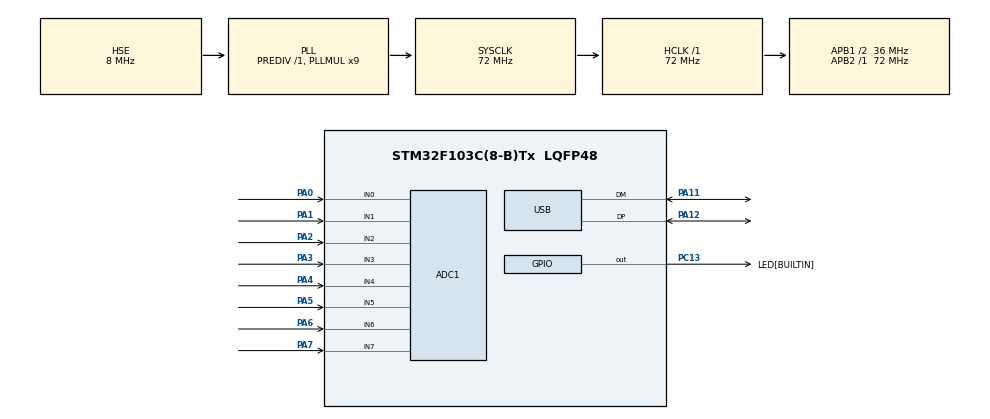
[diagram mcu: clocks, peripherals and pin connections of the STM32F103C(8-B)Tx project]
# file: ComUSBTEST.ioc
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ADC1.Channel-0\#ChannelRegularConversion=ADC_CHANNEL_0
ADC1.Channel-1\#ChannelRegularConversion=ADC_CHANNEL_1
ADC1.Channel-2\#ChannelRegularConversion=ADC_CHANNEL_2
ADC1.Channel-3\#ChannelRegularConversion=ADC_CHANNEL_3
ADC1.Channel-4\#ChannelRegularConversion=ADC_CHANNEL_4
ADC1.Channel-5\#ChannelRegularConversion=ADC_CHANNEL_5
ADC1.Channel-6\#ChannelRegularConversion=ADC_CHANNEL_6
ADC1.Channel-7\#ChannelRegularConversion=ADC_CHANNEL_7
ADC1.ContinuousConvMode=DISABLE
ADC1.DataAlign=ADC_DATAALIGN_RIGHT
ADC1.NbrOfConversion=8
ADC1.NbrOfConversionFlag=1
ADC1.Rank-0\#ChannelRegularConversion=1
ADC1.Rank-1\#ChannelRegularConversion=2
ADC1.Rank-2\#ChannelRegularConversion=3
ADC1.Rank-3\#ChannelRegularConversion=4
ADC1.Rank-4\#ChannelRegularConversion=5
ADC1.Rank-5\#ChannelRegularConversion=6
ADC1.Rank-6\#ChannelRegularConversion=7
ADC1.Rank-7\#ChannelRegularConversion=8
ADC1.SamplingTime-0\#ChannelRegularConversion=ADC_SAMPLETIME_1CYCLE_5
ADC1.SamplingTime-1\#ChannelRegularConversion=ADC_SAMPLETIME_1CYCLE_5
ADC1.SamplingTime-2\#ChannelRegularConversion=ADC_SAMPLETIME_1CYCLE_5
ADC1.SamplingTime-3\#ChannelRegularConversion=ADC_SAMPLETIME_1CYCLE_5
ADC1.SamplingTime-4\#ChannelRegularConversion=ADC_SAMPLETIME_1CYCLE_5
ADC1.SamplingTime-5\#ChannelRegularConversion=ADC_SAMPLETIME_1CYCLE_5
ADC1.SamplingTime-6\#ChannelRegularConversion=ADC_SAMPLETIME_1CYCLE_5
ADC1.SamplingTime-7\#ChannelRegularConversion=ADC_SAMPLETIME_1CYCLE_5
ADC1.master=1
Dma.ADC1.0.Direction=DMA_PERIPH_TO_MEMORY
Dma.ADC1.0.Instance=DMA1_Channel1
Dma.ADC1.0.MemDataAlignment=DMA_MDATAALIGN_HALFWORD
Dma.ADC1.0.MemInc=DMA_MINC_ENABLE
Dma.ADC1.0.Mode=DMA_NORMAL
Dma.ADC1.0.PeriphDataAlignment=DMA_PDATAALIGN_HALFWORD
Dma.ADC1.0.PeriphInc=DMA_PINC_DISABLE
Dma.ADC1.0.Priority=DMA_PRIORITY_LOW
Dma.Request0=ADC1
Mcu.Family=STM32F1
Mcu.Name=STM32F103C(8-B)Tx
Mcu.Package=LQFP48
NVIC.DMA1_Channel1_IRQn=true\:0\:0\:false\:false\:true\:false\:true\:true
NVIC.PriorityGroup=NVIC_PRIORITYGROUP_4
NVIC.TIM1_UP_IRQn=true\:0\:0\:false\:false\:true\:true\:true\:true
NVIC.USB_LP_CAN1_RX0_IRQn=true\:0\:0\:false\:false\:true\:false\:true\:true
PA0-WKUP.Signal=ADCx_IN0
PA1.Signal=ADCx_IN1
PA11.Mode=Device
PA11.Signal=USB_DM
PA12.Mode=Device
PA12.Signal=USB_DP
PA2.Signal=ADCx_IN2
PA3.Signal=ADCx_IN3
PA4.Signal=ADCx_IN4
PA5.Signal=ADCx_IN5
PA6.Signal=ADCx_IN6
PA7.Signal=ADCx_IN7
PC13-TAMPER-RTC.GPIO_Label=LED[BUILTIN]
PC13-TAMPER-RTC.Signal=GPIO_Output
PC14-OSC32_IN.Mode=LSE-External-Oscillator
PC14-OSC32_IN.Signal=RCC_OSC32_IN
PC15-OSC32_OUT.Mode=LSE-External-Oscillator
PC15-OSC32_OUT.Signal=RCC_OSC32_OUT
PD0-OSC_IN.Mode=HSE-External-Oscillator
PD0-OSC_IN.Signal=RCC_OSC_IN
PD1-OSC_OUT.Mode=HSE-External-Oscillator
PD1-OSC_OUT.Signal=RCC_OSC_OUT
ProjectManager.HeapSize=0x200
ProjectManager.StackSize=0x400
ProjectManager.TargetToolchain=STM32CubeIDE
RCC.ADCPresc=RCC_ADCPCLK2_DIV6
RCC.AHBFreq_Value=72000000
RCC.APB1CLKDivider=RCC_HCLK_DIV2
RCC.APB1Freq_Value=36000000
RCC.APB1TimFreq_Value=72000000
RCC.APB2Freq_Value=72000000
RCC.APB2TimFreq_Value=72000000
RCC.HCLKFreq_Value=72000000
RCC.PLLMUL=RCC_PLL_MUL9
RCC.PLLSourceVirtual=RCC_PLLSOURCE_HSE
RCC.SYSCLKFreq_VALUE=72000000
RCC.SYSCLKSource=RCC_SYSCLKSOURCE_PLLCLK
RCC.USBFreq_Value=48000000
RCC.USBPrescaler=RCC_USBCLKSOURCE_PLL_DIV1_5
SH.ADCx_IN0.0=ADC1_IN0,IN0
SH.ADCx_IN1.0=ADC1_IN1,IN1
SH.ADCx_IN2.0=ADC1_IN2,IN2
SH.ADCx_IN3.0=ADC1_IN3,IN3
SH.ADCx_IN4.0=ADC1_IN4,IN4
SH.ADCx_IN5.0=ADC1_IN5,IN5
SH.ADCx_IN6.0=ADC1_IN6,IN6
SH.ADCx_IN7.0=ADC1_IN7,IN7
TIM1.Prescaler=71
USB_DEVICE.CLASS_NAME_FS=CDC
USB_DEVICE.VirtualMode=Cdc
USB_DEVICE.VirtualModeFS=Cdc_FS
VP_ADC1_TempSens_Input.Mode=IN-TempSens
VP_SYS_VS_ND.Mode=No_Debug
VP_TIM1_VS_ClockSourceINT.Mode=Internal
VP_USB_DEVICE_VS_USB_DEVICE_CDC_FS.Mode=CDC_FS
board=custom

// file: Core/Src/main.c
/* USER CODE BEGIN Header */
/**
  ******************************************************************************
  * @file           : main.c
  * @brief          : Main program body
  ******************************************************************************
  * @attention
  *
  * Copyright (c) 2025 STMicroelectronics.
  * All rights reserved.
  *
  * This software is licensed under terms that can be found in the LICENSE file
  * in the root directory of this software component.
  * If no LICENSE file comes with this software, it is provided AS-IS.
  *
  ******************************************************************************
  */
/* USER CODE END Header */
#include "main.h"
#include "usb_device.h"

/* USER CODE BEGIN PTD */
typedef struct ComStruct{
    uint8_t timeOut;         //!< TiemOut para reiniciar la máquina si se interrumpe la comunicación
    uint8_t indexStart;      //!< Indice para saber en que parte del buffer circular arranca el ID
    uint8_t cheksumRx;       //!< Cheksumm RX
    uint8_t indexWriteRx;    //!< Indice de escritura del buffer circular de recepción
    uint8_t indexReadRx;     //!< Indice de lectura del buffer circular de recepción
    uint8_t indexWriteTx;    //!< Indice de escritura del buffer circular de transmisión
    uint8_t indexReadTx;     //!< Indice de lectura del buffer circular de transmisión
    uint8_t bufferRx[256];   //!< Buffer circular de recepción
    uint8_t bufferTx[256];   //!< Buffer circular de transmisión
}_sDato ;

typedef enum Comands{
    ALIVE=0xF0,
    FIRMWARE=0xF1,
    LEDS=0x10,
    PULSADORES=0x12,
    IRVALUE=0xA0,
    TESTMOTOR=0xA1,
    SERVO=0xA2,
    DISTANCIA=0xA3,
    SPEED=0xA4,
    SERVOCONFIG=0xA5,
    NEGROIR=0xA6,
    BLANCOIR=0xA7,
    PANEO=0xA8,
    STARTCONFIG=0xEE,
} _eEstadoMEFcmd;

typedef enum ProtocolState{
    START,
    HEADER_1,
    HEADER_2,
    HEADER_3,
    NBYTES=4,
    TOKEN,
    PAYLOAD
}_eProtocolo;
/* USER CODE END PTD */

ADC_HandleTypeDef hadc1;
DMA_HandleTypeDef hdma_adc1;

TIM_HandleTypeDef htim1;

/* USER CODE BEGIN PV */
_sDato datosComSerie, datosComWifi;
_eProtocolo estadoProtocolo;

/* USER CODE END PV */

void SystemClock_Config(void);
static void MX_GPIO_Init(void);
static void MX_DMA_Init(void);
static void MX_ADC1_Init(void);
static void MX_TIM1_Init(void);
/* USER CODE BEGIN PFP */
uint8_t CDC_Transmit_FS(uint8_t *buf, uint16_t leng);  // Envia una letra
void DecodeHeader(_sDato *);
void decodeData(_sDato *);
void SendInfo(uint8_t bufferAux[], uint8_t bytes);
void comunicationsTask(_sDato *datosCom);
//void CDC_AttachRxData(void (*ptrRxAttach)(uint8_t *buf, uint16_t len));
void Converse(uint8_t *buf, uint16_t length);
/* USER CODE END PFP */

int main(void)
{

  /* MCU Configuration--------------------------------------------------------*/

  /* Reset of all peripherals, Initializes the Flash interface and the Systick. */
  HAL_Init();

  /* USER CODE BEGIN Init */
  CDC_AttachRxData(Converse);
  /* USER CODE END Init */

  /* Configure the system clock */
  SystemClock_Config();

  /* Initialize all configured peripherals */
  MX_GPIO_Init();
  MX_DMA_Init();
  MX_USB_DEVICE_Init();
  MX_ADC1_Init();
  MX_TIM1_Init();
 // HAL_ADC_Start_DMA(&hadc1, , Length)
  /* Infinite loop */
  while (1)
  {

    /* USER CODE BEGIN 3 */
	 comunicationsTask(&datosComSerie);
	 HAL_Delay(1000);

  }
  /* USER CODE END 3 */
}

void SystemClock_Config(void)
{
  RCC_OscInitTypeDef RCC_OscInitStruct = {0};
  RCC_ClkInitTypeDef RCC_ClkInitStruct = {0};
  RCC_PeriphCLKInitTypeDef PeriphClkInit = {0};

  /** Initializes the RCC Oscillators according to the specified parameters
  * in the RCC_OscInitTypeDef structure.
  */
  RCC_OscInitStruct.OscillatorType = RCC_OSCILLATORTYPE_HSE;
  RCC_OscInitStruct.HSEState = RCC_HSE_ON;
  RCC_OscInitStruct.HSEPredivValue = RCC_HSE_PREDIV_DIV1;
  RCC_OscInitStruct.HSIState = RCC_HSI_ON;
  RCC_OscInitStruct.PLL.PLLState = RCC_PLL_ON;
  RCC_OscInitStruct.PLL.PLLSource = RCC_PLLSOURCE_HSE;
  RCC_OscInitStruct.PLL.PLLMUL = RCC_PLL_MUL9;
  if (HAL_RCC_OscConfig(&RCC_OscInitStruct) != HAL_OK)
  {
    Error_Handler();
  }

  /** Initializes the CPU, AHB and APB buses clocks
  */
  RCC_ClkInitStruct.ClockType = RCC_CLOCKTYPE_HCLK|RCC_CLOCKTYPE_SYSCLK
                              |RCC_CLOCKTYPE_PCLK1|RCC_CLOCKTYPE_PCLK2;
  RCC_ClkInitStruct.SYSCLKSource = RCC_SYSCLKSOURCE_PLLCLK;
  RCC_ClkInitStruct.AHBCLKDivider = RCC_SYSCLK_DIV1;
  RCC_ClkInitStruct.APB1CLKDivider = RCC_HCLK_DIV2;
  RCC_ClkInitStruct.APB2CLKDivider = RCC_HCLK_DIV1;

  if (HAL_RCC_ClockConfig(&RCC_ClkInitStruct, FLASH_LATENCY_2) != HAL_OK)
  {
    Error_Handler();
  }
  PeriphClkInit.PeriphClockSelection = RCC_PERIPHCLK_ADC|RCC_PERIPHCLK_USB;
  PeriphClkInit.AdcClockSelection = RCC_ADCPCLK2_DIV6;
  PeriphClkInit.UsbClockSelection = RCC_USBCLKSOURCE_PLL_DIV1_5;
  if (HAL_RCCEx_PeriphCLKConfig(&PeriphClkInit) != HAL_OK)
  {
    Error_Handler();
  }
}

static void MX_ADC1_Init(void)
{

  ADC_ChannelConfTypeDef sConfig = {0};

  /** Common config
  */
  hadc1.Instance = ADC1;
  hadc1.Init.ScanConvMode = ADC_SCAN_ENABLE;
  hadc1.Init.ContinuousConvMode = DISABLE;
  hadc1.Init.DiscontinuousConvMode = DISABLE;
  hadc1.Init.ExternalTrigConv = ADC_SOFTWARE_START;
  hadc1.Init.DataAlign = ADC_DATAALIGN_RIGHT;
  hadc1.Init.NbrOfConversion = 8;
  if (HAL_ADC_Init(&hadc1) != HAL_OK)
  {
    Error_Handler();
  }

  /** Configure Regular Channel
  */
  sConfig.Channel = ADC_CHANNEL_0;
  sConfig.Rank = ADC_REGULAR_RANK_1;
  sConfig.SamplingTime = ADC_SAMPLETIME_1CYCLE_5;
  if (HAL_ADC_ConfigChannel(&hadc1, &sConfig) != HAL_OK)
  {
    Error_Handler();
  }

  /** Configure Regular Channel
  */
  sConfig.Channel = ADC_CHANNEL_1;
  sConfig.Rank = ADC_REGULAR_RANK_2;
  if (HAL_ADC_ConfigChannel(&hadc1, &sConfig) != HAL_OK)
  {
    Error_Handler();
  }

  /** Configure Regular Channel
  */
  sConfig.Channel = ADC_CHANNEL_2;
  sConfig.Rank = ADC_REGULAR_RANK_3;
  if (HAL_ADC_ConfigChannel(&hadc1, &sConfig) != HAL_OK)
  {
    Error_Handler();
  }

  /** Configure Regular Channel
  */
  sConfig.Channel = ADC_CHANNEL_3;
  sConfig.Rank = ADC_REGULAR_RANK_4;
  if (HAL_ADC_ConfigChannel(&hadc1, &sConfig) != HAL_OK)
  {
    Error_Handler();
  }

  /** Configure Regular Channel
  */
  sConfig.Channel = ADC_CHANNEL_4;
  sConfig.Rank = ADC_REGULAR_RANK_5;
  if (HAL_ADC_ConfigChannel(&hadc1, &sConfig) != HAL_OK)
  {
    Error_Handler();
  }

  /** Configure Regular Channel
  */
  sConfig.Channel = ADC_CHANNEL_5;
  sConfig.Rank = ADC_REGULAR_RANK_6;
  if (HAL_ADC_ConfigChannel(&hadc1, &sConfig) != HAL_OK)
  {
    Error_Handler();
  }

  /** Configure Regular Channel
  */
  sConfig.Channel = ADC_CHANNEL_6;
  sConfig.Rank = ADC_REGULAR_RANK_7;
  if (HAL_ADC_ConfigChannel(&hadc1, &sConfig) != HAL_OK)
  {
    Error_Handler();
  }

  /** Configure Regular Channel
  */
  sConfig.Channel = ADC_CHANNEL_7;
  sConfig.Rank = ADC_REGULAR_RANK_8;
  if (HAL_ADC_ConfigChannel(&hadc1, &sConfig) != HAL_OK)
  {
    Error_Handler();
  }

}

static void MX_TIM1_Init(void)
{

  TIM_ClockConfigTypeDef sClockSourceConfig = {0};
  TIM_MasterConfigTypeDef sMasterConfig = {0};

  htim1.Instance = TIM1;
  htim1.Init.Prescaler = 71;
  htim1.Init.CounterMode = TIM_COUNTERMODE_UP;
  htim1.Init.Period = 65535;
  htim1.Init.ClockDivision = TIM_CLOCKDIVISION_DIV1;
  htim1.Init.RepetitionCounter = 0;
  htim1.Init.AutoReloadPreload = TIM_AUTORELOAD_PRELOAD_DISABLE;
  if (HAL_TIM_Base_Init(&htim1) != HAL_OK)
  {
    Error_Handler();
  }
  sClockSourceConfig.ClockSource = TIM_CLOCKSOURCE_INTERNAL;
  if (HAL_TIM_ConfigClockSource(&htim1, &sClockSourceConfig) != HAL_OK)
  {
    Error_Handler();
  }
  sMasterConfig.MasterOutputTrigger = TIM_TRGO_RESET;
  sMasterConfig.MasterSlaveMode = TIM_MASTERSLAVEMODE_DISABLE;
  if (HAL_TIMEx_MasterConfigSynchronization(&htim1, &sMasterConfig) != HAL_OK)
  {
    Error_Handler();
  }

}

static void MX_DMA_Init(void)
{

  /* DMA controller clock enable */
  __HAL_RCC_DMA1_CLK_ENABLE();

  /* DMA interrupt init */
  /* DMA1_Channel1_IRQn interrupt configuration */
  HAL_NVIC_SetPriority(DMA1_Channel1_IRQn, 0, 0);
  HAL_NVIC_EnableIRQ(DMA1_Channel1_IRQn);

}

static void MX_GPIO_Init(void)
{
  GPIO_InitTypeDef GPIO_InitStruct = {0};

  /* GPIO Ports Clock Enable */
  __HAL_RCC_GPIOC_CLK_ENABLE();
  __HAL_RCC_GPIOD_CLK_ENABLE();
  __HAL_RCC_GPIOA_CLK_ENABLE();

  /*Configure GPIO pin Output Level */
  HAL_GPIO_WritePin(LED_GPIO_Port, LED_Pin, GPIO_PIN_RESET);

  /*Configure GPIO pin : LED_Pin */
  GPIO_InitStruct.Pin = LED_Pin;
  GPIO_InitStruct.Mode = GPIO_MODE_OUTPUT_PP;
  GPIO_InitStruct.Pull = GPIO_NOPULL;
  GPIO_InitStruct.Speed = GPIO_SPEED_FREQ_LOW;
  HAL_GPIO_Init(LED_GPIO_Port, &GPIO_InitStruct);

}

/* USER CODE BEGIN 4 */
void DecodeHeader(_sDato *datosCom){

    static uint8_t nBytes=0;

    uint8_t indexWriteRxCopy=datosCom->indexWriteRx;

    while (datosCom->indexReadRx!=indexWriteRxCopy)
    {
        switch (estadoProtocolo) {
            case START:
                if (datosCom->bufferRx[datosCom->indexReadRx++]=='U'){
                    estadoProtocolo=HEADER_1;
                    datosCom->cheksumRx=0;
                }
                break;
            case HEADER_1:
                if (datosCom->bufferRx[datosCom->indexReadRx++]=='N')
                   estadoProtocolo=HEADER_2;
                else{
                    datosCom->indexReadRx--;
                    estadoProtocolo=START;
                }
                break;
            case HEADER_2:
                if (datosCom->bufferRx[datosCom->indexReadRx++]=='E')
                    estadoProtocolo=HEADER_3;
                else{
                    datosCom->indexReadRx--;
                   estadoProtocolo=START;
                }
                break;
        case HEADER_3:
            if (datosCom->bufferRx[datosCom->indexReadRx++]=='R')
                estadoProtocolo=NBYTES;
            else{
                datosCom->indexReadRx--;
               estadoProtocolo=START;
            }
            break;
            case NBYTES:
                datosCom->indexStart=datosCom->indexReadRx;
                nBytes=datosCom->bufferRx[datosCom->indexReadRx++];
               estadoProtocolo=TOKEN;
                break;
            case TOKEN:
                if (datosCom->bufferRx[datosCom->indexReadRx++]==':'){
                   estadoProtocolo=PAYLOAD;
                    datosCom->cheksumRx ='U'^'N'^'E'^'R'^ nBytes^':';
                }
                else{
                    datosCom->indexReadRx--;
                    estadoProtocolo=START;
                }
                break;
            case PAYLOAD:
                if (nBytes>1){
                    datosCom->cheksumRx ^= datosCom->bufferRx[datosCom->indexReadRx++];
                }
                nBytes--;
                if(nBytes<=0){
                    estadoProtocolo=START;
                    if(datosCom->cheksumRx == datosCom->bufferRx[datosCom->indexReadRx]){
                        decodeData(datosCom);
                    }
                }

                break;
            default:
                estadoProtocolo=START;
                break;
        }
    }
}

void SendInfo(uint8_t bufferAux[], uint8_t bytes){
    uint8_t bufAux[20], indiceAux=0,cks=0;
    #define NBYTES  4
    bufAux[indiceAux++]='U';
    bufAux[indiceAux++]='N';
    bufAux[indiceAux++]='E';
    bufAux[indiceAux++]='R';
    bufAux[indiceAux++]=0;
    bufAux[indiceAux++]=':';
    for(uint8_t i=0; i<bytes-1; i++){
        bufAux[indiceAux++] = bufferAux[i];
    }
    bufAux[NBYTES] = bytes;
        cks=0;
    for(uint8_t i=0 ;i<indiceAux;i++){
        cks^= bufAux[i];
        datosComSerie.bufferTx[datosComSerie.indexWriteTx++]=bufAux[i];
    }
     datosComSerie.bufferTx[datosComSerie.indexWriteTx++]=cks;

     CDC_Transmit_FS((uint8_t*)datosComSerie.bufferTx, sizeof(bufAux));
}

void decodeData(_sDato *datosCom){

    uint8_t bufAux[20], indiceAux=0,cks=0;

    bufAux[indiceAux++]='U';
    bufAux[indiceAux++]='N';
    bufAux[indiceAux++]='E';
    bufAux[indiceAux++]='R';
    bufAux[indiceAux++]=0;
    bufAux[indiceAux++]=':';

    switch (datosCom->bufferRx[datosCom->indexStart+2])//ID EN LA POSICION 2
    {
    case ALIVE:

        bufAux[indiceAux++]=ALIVE;
        bufAux[indiceAux++]=0x0D;
        bufAux[NBYTES]=0x03;

    break;
    case FIRMWARE:

        bufAux[indiceAux++]=FIRMWARE;
        bufAux[indiceAux++]=0xF1;
        bufAux[NBYTES]=0x03;

    break;

    default:

        bufAux[indiceAux++]=0xFF;
        bufAux[NBYTES]=0x02;

        break;
    }
    cks=0;
    for(uint8_t i=0 ;i<indiceAux;i++){

        cks^= bufAux[i];
        datosCom->bufferTx[datosCom->indexWriteTx++]=bufAux[i];

    }

     datosCom->bufferTx[datosCom->indexWriteTx++]=cks;
}

void comunicationsTask(_sDato *datosCom){
	if(datosCom->indexReadRx!=datosCom->indexWriteRx ){
		DecodeHeader(datosCom);
	}
}
void Converse(uint8_t *buf, uint16_t length) {

  // Copia los datos recibidos al bufferRx de tu estructura
  if (length <= sizeof(datosComSerie.bufferRx)) {
    memcpy(datosComSerie.bufferRx, buf, length);
    datosComSerie.indexWriteRx += length; // Actualiza el índice de escritura
    if (datosComSerie.indexWriteRx >= sizeof(datosComSerie.bufferRx)) {
        datosComSerie.indexWriteRx -= sizeof(datosComSerie.bufferRx); // Manejo del buffer circular
    }
  }

}
//void HAL_TIM_PeriodElapsedCallback(TIM_HandleTypeDef *htim)
/* USER CODE END 4 */

void Error_Handler(void)
{
  __disable_irq();
  while (1)
  {
  }
}
